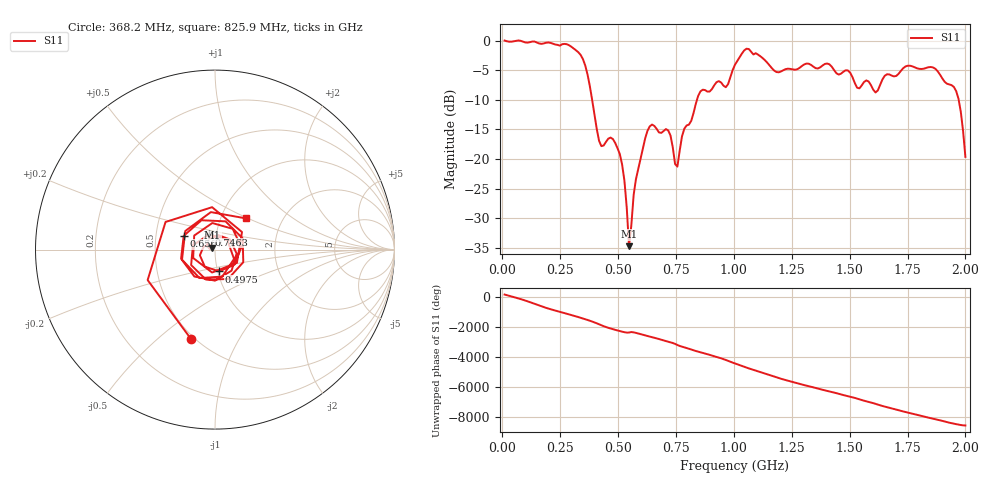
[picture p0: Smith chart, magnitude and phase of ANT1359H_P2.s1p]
!Created with skrf (http://scikit-rf.org).
# Hz S RI R 50.0
!freq ReS11 ImS11
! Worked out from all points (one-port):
!   201 points, 10 MHz to 2 GHz, reference 50 ohm
!   lowest |S11| = -34.7 dB at 547.3 MHz (marker M1), VSWR 1.04, Z = 48.6 + j1.1 ohm
!   |S11| at or under -10 dB: 388 MHz to 840.8 MHz (452.7 MHz wide, 73.7 % of centre); 1.971 GHz to end of sweep
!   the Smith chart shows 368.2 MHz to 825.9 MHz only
!   S11 on the Smith chart (normalised r, x): 368.2 MHz: 0.48, -0.65; 497.6 MHz: 1.02, -0.25; 656.8 MHz: 0.70, +0.11; 746.3 MHz: 0.92, +0.16; 825.9 MHz: 1.31, +0.49
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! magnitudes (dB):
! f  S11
! 10 MHz  0.0
! 258.8 MHz  -0.6
! 338.4 MHz  -2.4
! 368.2 MHz  -5.7
! 417.9 MHz  -16.9
! 497.6 MHz  -18.2
! 507.5 MHz  -19.1
! 527.4 MHz  -23.6
! 547.3 MHz  -34.7
! 577.1 MHz  -23.4
! 626.9 MHz  -15.2
! 656.8 MHz  -14.4
! 716.5 MHz  -15.2
! 746.3 MHz  -20.8
! 756.2 MHz  -21.3
! 776.1 MHz  -16.1
! 825.9 MHz  -12.2
! 855.8 MHz  -8.6
! 965.2 MHz  -7.9
! 1.005 GHz  -4.1
! 1.055 GHz  -1.4
! 1.254 GHz  -4.9
! 1.502 GHz  -5.4
! 1.612 GHz  -8.8
! 1.751 GHz  -4.2
! 1.95 GHz  -7.8
! 1.98 GHz  -12.0
! 2 GHz  -19.6
